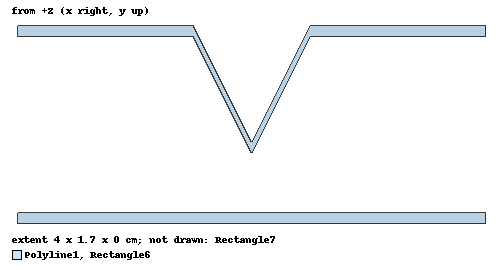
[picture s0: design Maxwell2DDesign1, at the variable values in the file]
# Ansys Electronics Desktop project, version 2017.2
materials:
  vacuum: permittivity=1
  copper: permeability=0.999991 conductivity=58000000
  air: permittivity=1.0006 permeability=1.0000004

design Maxwell2DDesign1 (Maxwell 2D, Electrostatic, XY geometry, model units cm)
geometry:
  Rectangle6 [vacuum] = rectangle(corner=(-2cm, 0.1cm, 0cm), x_size=4cm, y_size=-0.1cm)
  Polyline1 [vacuum] = polyline(z=0cm, xy in cm: (-2, 1.6) (-2, 1.7) (-0.5, 1.7) (0, 0.7) (0.5, 1.7) (2, 1.7) (2, 1.6) (0.5, 1.6) (0, 0.6) (-0.5, 1.6) (-2, 1.6), closed, covered)
  Rectangle7 [air] = rectangle(corner=(-4cm, 4cm, 0cm), x_size=8cm, y_size=-6cm)
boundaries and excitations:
  Balloon1: Balloon Edges=Rectangle7.edge(all 4) IsOfTypeVoltage=false
  Voltage1: Voltage Objects=Rectangle6 Value=0V
  Voltage2: Voltage Objects=Polyline1 Value=1V
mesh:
  initial mesh: GlobalSurfApproximation{CurvedSurfaceApproxChoice=UseSlider SliderMeshSettings=9} MeshMethod=AnsoftClassic
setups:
  Setup1: Electrostatic MaximumPasses=10 MinimumPasses=2 MinimumConvergedPasses=1 PercentRefinement=30 PercentError=0.1 NonLinearResidual=0.001
